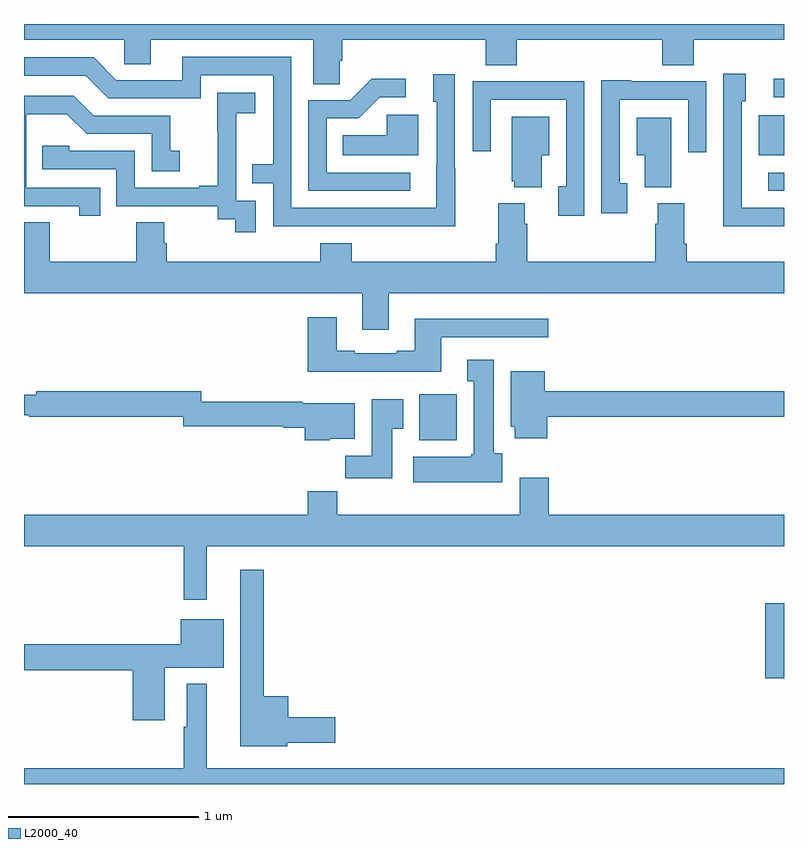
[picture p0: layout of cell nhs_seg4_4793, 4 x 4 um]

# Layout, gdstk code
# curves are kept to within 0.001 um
import gdstk
lib = gdstk.Library(unit=1e-6, precision=1e-09)
def R(c, l, rs):  # rectangles x0, y0, x1, y1
    for r in rs: c.add(gdstk.rectangle(r[:2], r[2:], *l))
def P(c, l, *ps):  # polygons
    for p in ps: c.add(gdstk.Polygon(p, *l))
L2000_40 = (2000, 40)

nhs_seg4_4793 = lib.new_cell('nhs_seg4_4793')
R(nhs_seg4_4793, L2000_40, [(372.902,797.457,373,797.851), (371.081,798.71,371.278,798.952), (372.918,800.022,373,800.118), (372.866,800.21,373,800.421), (372.945,800.514,373,800.612)])
P(nhs_seg4_4793, L2000_40, [(370.662,800.707),(370.676,800.707),(370.676,800.816),(371.429,800.816),(371.429,800.683),(371.594,800.683),(371.594,800.816),(372.359,800.816),(372.359,800.683),(372.524,800.683),(372.524,800.816),(373,800.816),(373,800.9),(369,800.9),(369,800.816),(369.528,800.816),(369.528,800.689),(369.667,800.689),(369.667,800.816),(370.523,800.816),(370.523,800.584),(370.662,800.584)],
  [(371.271,800.141),(371.268,800.141),(371.268,800.635),(371.153,800.635),(371.153,800.49),(371.172,800.49),(371.171,799.932),(370.407,799.932),(370.407,800.727),(369.833,800.727),(369.833,800.604),(369.486,800.604),(369.366,800.724),(369,800.724),(369,800.628),(369.324,800.628),(369.444,800.508),(369.93,800.508),(369.93,800.631),(370.311,800.631),(370.311,800.162),(370.201,800.162),(370.201,800.061),(370.311,800.061),(370.311,799.836),(371.271,799.835)],
  [(373,799.932),(372.777,799.932),(372.777,800.493),(372.799,800.493),(372.799,800.638),(372.681,800.638),(372.681,800.138),(372.68,800.138),(372.68,799.835),(373,799.835)],
  [(371.032,800.118),(370.593,800.118),(370.593,800.403),(370.762,800.403),(370.873,800.514),(371.008,800.514),(371.008,800.612),(370.829,800.612),(370.716,800.499),(370.497,800.499),(370.497,800.022),(371.032,800.022)],
  [(372.175,800.061),(372.135,800.061),(372.135,800.502),(372.495,800.502),(372.495,800.226),(372.591,800.226),(372.591,800.598),(372.195,800.598),(372.195,800.605),(372.039,800.605),(372.039,799.905),(372.175,799.905)],
  [(371.949,800.6),(371.677,800.6),(371.677,800.598),(371.361,800.598),(371.361,800.229),(371.457,800.229),(371.457,800.502),(371.853,800.502),(371.853,800.046),(371.813,800.046),(371.813,799.89),(371.949,799.89)],
  [(370.221,799.971),(370.116,799.971),(370.116,800.201),(370.118,800.201),(370.118,800.429),(370.216,800.429),(370.216,800.539),(370.018,800.539),(370.018,800.333),(370.019,800.333),(370.019,800.05),(369.923,800.05),(369.923,800.037),(369.582,800.037),(369.582,800.232),(369.237,800.232),(369.237,800.259),(369.097,800.259),(369.097,800.136),(369.486,800.136),(369.486,799.941),(370.02,799.941),(370.02,799.873),(370.113,799.873),(370.113,799.803),(370.221,799.803)],
  [(369.401,800.037),(369.012,800.037),(369.012,800.426),(369.226,800.426),(369.33,800.322),(369.672,800.322),(369.672,800.124),(369.82,800.124),(369.82,800.233),(369.771,800.233),(369.771,800.418),(369.367,800.418),(369.262,800.523),(369,800.523),(369,799.941),(369.29,799.941),(369.29,799.89),(369.401,799.89)],
  [(371.074,800.422),(370.909,800.422),(370.909,800.314),(370.678,800.314),(370.678,800.21),(371.074,800.21)],
  [(371.725,800.21),(371.764,800.21),(371.764,800.413),(371.567,800.413),(371.567,800.073),(371.579,800.073),(371.579,800.042),(371.725,800.042)],
  [(372.406,800.407),(372.224,800.407),(372.224,800.21),(372.266,800.21),(372.266,800.041),(372.406,800.041)],
  [(370.921,799.484),(373,799.484),(373,799.648),(372.488,799.648),(372.488,799.744),(372.475,799.744),(372.475,799.956),(372.335,799.956),(372.335,799.85),(372.323,799.85),(372.323,799.648),(371.648,799.648),(371.648,799.85),(371.635,799.85),(371.635,799.957),(371.495,799.957),(371.495,799.744),(371.483,799.744),(371.483,799.648),(370.724,799.648),(370.724,799.747),(370.559,799.747),(370.559,799.648),(369.752,799.648),(369.752,799.746),(369.739,799.746),(369.739,799.856),(369.592,799.856),(369.592,799.648),(369.135,799.648),(369.135,799.856),(369,799.856),(369,799.484),(370.781,799.484),(370.781,799.29),(370.921,799.29)],
  [(371.197,799.251),(371.758,799.251),(371.758,799.348),(371.057,799.348),(371.057,799.18),(370.961,799.18),(370.961,799.167),(370.741,799.167),(370.741,799.18),(370.645,799.18),(370.645,799.357),(370.493,799.357),(370.493,799.07),(371.197,799.07)],
  [(371.518,798.642),(371.473,798.642),(371.473,799.132),(371.333,799.132),(371.333,799.019),(371.366,799.019),(371.366,798.636),(371.353,798.636),(371.353,798.622),(371.049,798.622),(371.049,798.488),(371.518,798.488)],
  [(371.753,798.832),(373,798.832),(373,798.968),(371.74,798.968),(371.74,799.072),(371.561,799.072),(371.561,798.78),(371.582,798.78),(371.582,798.72),(371.753,798.72)],
  [(370.608,798.716),(370.741,798.716),(370.741,798.904),(370.465,798.904),(370.465,798.911),(369.933,798.911),(369.933,798.968),(369.064,798.968),(369.064,798.949),(369,798.949),(369,798.84),(369.028,798.84),(369.028,798.832),(369.837,798.832),(369.837,798.783),(370.365,798.783),(370.365,798.775),(370.478,798.775),(370.478,798.71),(370.608,798.71)],
  [(370.939,798.769),(370.996,798.769),(370.996,798.925),(370.829,798.925),(370.829,798.628),(370.69,798.628),(370.69,798.51),(370.939,798.51)],
  [(369.961,798.152),(373,798.152),(373,798.316),(371.762,798.316),(371.762,798.511),(371.609,798.511),(371.609,798.316),(370.649,798.316),(370.649,798.44),(370.493,798.44),(370.493,798.316),(369,798.316),(369,798.152),(369.84,798.152),(369.84,797.871),(369.961,797.871)],
  [(370.386,797.117),(370.639,797.117),(370.639,797.252),(370.39,797.252),(370.39,797.362),(370.261,797.362),(370.261,798.028),(370.139,798.028),(370.139,797.099),(370.386,797.099)],
  [(369.742,797.513),(370.051,797.513),(370.051,797.767),(369.824,797.767),(369.824,797.636),(369,797.636),(369,797.5),(369.572,797.5),(369.572,797.235),(369.742,797.235)],
  [(373,796.984),(369.961,796.984),(369.961,797.428),(369.857,797.428),(369.857,797.201),(369.84,797.201),(369.84,796.984),(369,796.984),(369,796.9),(373,796.9)])

lib.write_gds('nhs_seg4_4793.gds')
